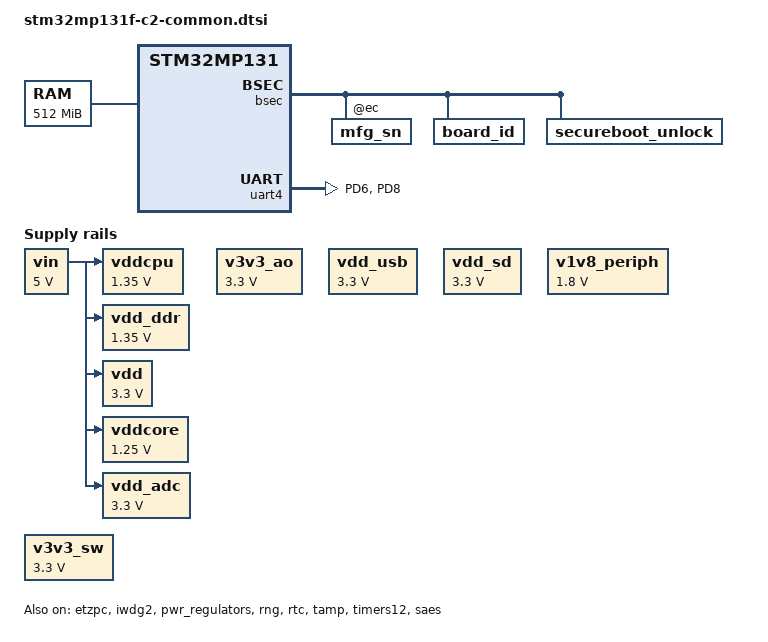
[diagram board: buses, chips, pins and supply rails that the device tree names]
/* SPDX-License-Identifier: (GPL-2.0+ OR BSD-3-Clause) */
/*
* Copyright (C) Block Inc.
* Author: btcm-sw-team@block.xyz
*/

/dts-v1/;
#include <dt-bindings/pinctrl/stm32-pinfunc.h>
#include <dt-bindings/clock/stm32mp13-clksrc.h>
#include <dt-bindings/soc/stm32mp13-etzpc.h>

#include "stm32mp131.dtsi"
#include "stm32mp13xf.dtsi"

#include <dt-bindings/gpio/gpio.h>
#include <dt-bindings/gpio/stm32mp_gpio.h>
#include <dt-bindings/power/stm32mp1-power.h>
#include <dt-bindings/rtc/rtc-stm32.h>
#include <dt-bindings/soc/stm32mp-tzc400-macro.h>
#include <dt-bindings/soc/stm32mp13-tzc400.h>

/ {
    memory@c0000000 {
        device_type = "memory";
        reg = <0xc0000000 0x20000000>;
    };

    reserved-memory {
        #address-cells = <1>;
        #size-cells = <1>;
        ranges;

        optee_framebuffer:optee-framebuffer@dd000000{
            reg = <0xdd000000 0x1000000>;
            st,protreg = <TZC_REGION_S_RDWR 0>;
        };
    };

    aliases {
        serial0 = &uart4;
        serial1 = &uart5;
    };

    chosen {
        stdout-path = "serial0:115200n8";
    };

    vin: vin {
        compatible = "regulator-fixed";
        regulator-name = "vin";
        regulator-min-microvolt = <5000000>;
        regulator-max-microvolt = <5000000>;
        regulator-always-on;
    };

    v3v3_ao: v3v3_ao {
        compatible = "regulator-fixed";
        regulator-name = "v3v3_ao";
        regulator-min-microvolt = <3300000>;
        regulator-max-microvolt = <3300000>;
        regulator-always-on;
    };

    vddcpu: vddcpu {
        compatible = "regulator-fixed";
        regulator-name = "vddcpu";
        regulator-min-microvolt = <1350000>;
        regulator-max-microvolt = <1350000>;
        regulator-always-on;
        vin-supply = <&vin>;
    };

    vdd_ddr: vdd_ddr {
        compatible = "regulator-fixed";
        regulator-name = "vdd_ddr";
        regulator-min-microvolt = <1350000>;
        regulator-max-microvolt = <1350000>;
        regulator-always-on;
        vin-supply = <&vin>;
    };

    vdd: vdd {
        compatible = "regulator-fixed";
        regulator-name = "vdd";
        regulator-min-microvolt = <3300000>;
        regulator-max-microvolt = <3300000>;
        regulator-always-on;
        vin-supply = <&vin>;
    };

    vddcore: vddcore {
        compatible = "regulator-fixed";
        regulator-name = "vddcore";
        regulator-min-microvolt = <1250000>;
        regulator-max-microvolt = <1250000>;
        regulator-always-on;
        vin-supply = <&vin>;
    };

    vdd_adc: vdd_adc {
        compatible = "regulator-fixed";
        regulator-name = "vdd_adc";
        regulator-min-microvolt = <3300000>;
        regulator-max-microvolt = <3300000>;
        regulator-always-on;
        vin-supply = <&vin>;
    };

    vdd_usb: vdd_usb {
        compatible = "regulator-fixed";
        regulator-name = "vdd_usb";
        regulator-min-microvolt = <3300000>;
        regulator-max-microvolt = <3300000>;
        regulator-always-on;
    };

    vdd_sd: vdd_sd {
        compatible = "regulator-fixed";
        regulator-name = "vdd_sd";
        regulator-min-microvolt = <3300000>;
        regulator-max-microvolt = <3300000>;
        regulator-always-on;
    };

    v1v8_periph: v1v8_periph {
        compatible = "regulator-fixed";
        regulator-name = "v1v8_periph";
        regulator-min-microvolt = <1800000>;
        regulator-max-microvolt = <1800000>;
        regulator-always-on;
    };

    v3v3_sw: v3v3_sw {
        compatible = "regulator-fixed";
        regulator-name = "v3v3_sw";
        regulator-min-microvolt = <3300000>;
        regulator-max-microvolt = <3300000>;
        regulator-always-on;
    };

    clocks {
        clk_hsi: clk-hsi {
            clock-frequency = <64000000>;
        };
        clk_lse: clk-lse {
            clock-frequency = <32768>;
            st,drive = < LSEDRV_MEDIUM_HIGH >;
        };
        clk_hse: clk-hse {
            clock-frequency = <24000000>;
        };
        clk_i2sin: clk-i2sin {
            status = "disabled";
        };
    };

}; /*root*/

/*Warning: the configuration of the secured GPIOs should be added in (addons) User Section*/
&pinctrl {
    i2c2_pins_a: i2c2-0 {
        pins {
            pinmux = <STM32_PINMUX('F', 2, AF4)>, /* I2C2_SCL */
            <STM32_PINMUX('F', 1, AF4)>; /* I2C2_SDA */
            bias-disable;
            drive-open-drain;
            slew-rate = <0>;
        };
    };

    rcc_pins_mx: rcc_mx-0 {
        pins {
            pinmux = <STM32_PINMUX('D', 7, AF0)>, /* RCC_MCO_1 */
            <STM32_PINMUX('E', 6, AF0)>; /* RCC_MCO_2 */
            bias-disable;
            drive-push-pull;
            slew-rate = <0>;
        };
    };

    uart4_pins_a: uart4_a-0 {
        pins1 {
            pinmux = <STM32_PINMUX('D', 6, AF8)>; /* UART4_TX */
            bias-disable;
            drive-push-pull;
            slew-rate = <0>;
        };
        pins2 {
            pinmux = <STM32_PINMUX('D', 8, AF8)>; /* UART4_RX */
            bias-disable;
        };
    };
};

&bsec {
    status = "okay";

    mac_addr: mac_addr@e4 {
        reg = <0xe4 0x8>;
        st,non-secure-otp;
    };

    mfg_sn: mfg_sn@ec {
        reg = <0xec 0x10>;
        st,non-secure-otp;
    };

    board_id: board_id@100 {
        reg = <0x100 0x4>;
        st,non-secure-otp;
    };

    secureboot_unlock: secureboot_unlock@104 {
        reg = <0x104 0x4>;
    };
};

&etzpc {
    status = "okay";
    st,decprot = <
    /*"NS_R S_W" peripherals*/
    DECPROT(STM32MP1_ETZPC_DDRCTRLPHY_ID, DECPROT_NS_R_S_W, DECPROT_LOCK)
    /*"Non Secured" peripherals*/
    DECPROT(STM32MP1_ETZPC_ETH1_ID, DECPROT_NS_RW, DECPROT_UNLOCK)
    DECPROT(STM32MP1_ETZPC_FMC_ID, DECPROT_NS_RW, DECPROT_UNLOCK)
    DECPROT(STM32MP1_ETZPC_I2C3_ID, DECPROT_NS_RW, DECPROT_UNLOCK)
    DECPROT(STM32MP1_ETZPC_I2C4_ID, DECPROT_NS_RW, DECPROT_UNLOCK)
    DECPROT(STM32MP1_ETZPC_I2C5_ID, DECPROT_NS_RW, DECPROT_UNLOCK)
    DECPROT(STM32MP1_ETZPC_ADC2_ID, DECPROT_NS_RW, DECPROT_UNLOCK)
    DECPROT(STM32MP1_ETZPC_SDMMC1_ID, DECPROT_NS_RW, DECPROT_UNLOCK)
    DECPROT(STM32MP1_ETZPC_SDMMC2_ID, DECPROT_NS_RW, DECPROT_UNLOCK)
    DECPROT(STM32MP1_ETZPC_SPI4_ID, DECPROT_NS_RW, DECPROT_UNLOCK)
    DECPROT(STM32MP1_ETZPC_OTG_ID, DECPROT_NS_RW, DECPROT_UNLOCK)
    DECPROT(STM32MP1_ETZPC_USBPHYCTRL_ID, DECPROT_NS_RW, DECPROT_UNLOCK)
    DECPROT(STM32MP1_ETZPC_TIM13_ID, DECPROT_NS_RW, DECPROT_UNLOCK)
    DECPROT(STM32MP1_ETZPC_TIM14_ID, DECPROT_NS_RW, DECPROT_UNLOCK)
    DECPROT(STM32MP1_ETZPC_TIM16_ID, DECPROT_NS_RW, DECPROT_UNLOCK)
    DECPROT(STM32MP1_ETZPC_TIM17_ID, DECPROT_NS_RW, DECPROT_UNLOCK)
    /*"Secured" peripherals*/
    DECPROT(STM32MP1_ETZPC_STGENC_ID, DECPROT_S_RW, DECPROT_UNLOCK)
    >;
};

&iwdg2 {
    status = "okay";

    timeout-sec = <32>;
    secure-timeout-sec = <5>;
};

&pwr_regulators {
    status = "okay";
	system_suspend_supported_soc_modes = <
	STM32_PM_CSLEEP_RUN
	STM32_PM_CSTOP_ALLOW_LP_STOP
	STM32_PM_CSTOP_ALLOW_STANDBY_DDR_SR
	>;
	system_off_soc_mode = <STM32_PM_CSTOP_ALLOW_STANDBY_DDR_OFF>;
};

&rcc {
    compatible = "st,stm32mp13-rcc", "syscon", "st,stm32mp13-rcc-mco";
    pinctrl-names = "default";
    pinctrl-0 = <&rcc_pins_mx>;
    status = "okay";
    clocks = <&clk_hse>, <&clk_hsi>, <&clk_lse>, <&clk_lsi>, <&clk_csi>;
    clock-names = "clk-hse", "clk-hsi", "clk-lse", "clk-lsi", "clk-csi";

    st,clksrc = <
    CLK_MPU_PLL1P
    CLK_AXI_PLL2P
    CLK_MLAHBS_PLL3
    CLK_RTC_LSE
    CLK_MCO1_HSE
    CLK_MCO2_DISABLED
    CLK_CKPER_HSE
    CLK_ETH1_PLL4P
    CLK_SDMMC1_PLL4P
    CLK_SDMMC2_PLL4P
    CLK_STGEN_HSE
    CLK_USBPHY_HSE
    CLK_I2C4_PLL4R
    CLK_I2C5_PLL4R
    CLK_ADC2_PLL4R
    CLK_USBO_USBPHY
    CLK_I2C12_PLL4R
    CLK_I2C3_PCLK6
    CLK_UART1_HSI
    CLK_UART2_HSI
    CLK_UART35_HSI
    CLK_UART4_HSI
    CLK_UART6_HSI
    CLK_UART78_HSI
    CLK_SAES_AXI
    CLK_DCMIPP_PLL2Q
    CLK_LPTIM3_PCLK3
    CLK_RNG1_PLL4R
    >;

    st,clkdiv = <
    DIV(DIV_MPU, 1)
    DIV(DIV_AXI, 0)
    DIV(DIV_MLAHB, 0)
    DIV(DIV_APB1, 1)
    DIV(DIV_APB2, 1)
    DIV(DIV_APB3, 1)
    DIV(DIV_APB4, 1)
    DIV(DIV_APB5, 2)
    DIV(DIV_APB6, 1)
    DIV(DIV_RTC, 0)
    DIV(DIV_MCO1, 0)
    DIV(DIV_MCO2, 0)
    >;

    st,pll_vco {
        pll1_vco_2000Mhz: pll1-vco-2000Mhz {
            src = < CLK_PLL12_HSE >;
            divmn = < 1 82 >;
            frac = < 0xAAA >;
        };

        pll1_vco_1300Mhz: pll1-vco-1300Mhz {
            src = < CLK_PLL12_HSE >;
            divmn = < 2 80 >;
            frac = < 0x800 >;
        };

        pll2_vco_1066Mhz: pll2-vco-1066Mhz {
            src = < CLK_PLL12_HSE >;
            divmn = < 2 65 >;
            frac = < 0x1400 >;
        };

        pll3_vco_417_8Mhz: pll3-vco-417_8Mhz {
            src = < CLK_PLL3_HSE >;
            divmn = < 1 33 >;
            frac = < 0x1a04 >;
        };

        pll4_vco_600Mhz: pll4-vco-600Mhz {
            src = < CLK_PLL4_HSE >;
            divmn = < 1 49 >;
        };
    };

    /* VCO = 1300.0 MHz => P = 650 (CPU) */
    pll1:st,pll@0 {
        compatible = "st,stm32mp1-pll";
        reg = <0>;

        st,pll = < &pll1_cfg1 >;

        pll1_cfg1: pll1_cfg1 {
            st,pll_vco = < &pll1_vco_1300Mhz >;
            st,pll_div_pqr = < 0 1 1 >;
        };

        pll1_cfg2: pll1_cfg2 {
            st,pll_vco = < &pll1_vco_2000Mhz >;
            st,pll_div_pqr = < 0 1 1 >;
        };
    };

    /* VCO = 1066.0 MHz => P = 266 (AXI), Q = 266, R = 533 (DDR) */
    pll2:st,pll@1 {
        compatible = "st,stm32mp1-pll";
        reg = <1>;

        st,pll = < &pll2_cfg1 >;

        pll2_cfg1: pll2_cfg1 {
            st,pll_vco = < &pll2_vco_1066Mhz >;
            st,pll_div_pqr = < 1 1 0 >;
        };
    };

    /* VCO = 417.8 MHz => P = 209, Q = 24, R = 11 */
    pll3:st,pll@2 {
        compatible = "st,stm32mp1-pll";
        reg = <2>;

        st,pll = < &pll3_cfg1 >;

        pll3_cfg1: pll3_cfg1 {
            st,pll_vco = < &pll3_vco_417_8Mhz >;
            st,pll_div_pqr = < 1 16 36 >;
        };
    };

    /* VCO = 600.0 MHz => P = 50, Q = 10, R = 50 */
    pll4:st,pll@3 {
        compatible = "st,stm32mp1-pll";
        reg = <3>;
        st,pll = < &pll4_cfg1 >;

        pll4_cfg1: pll4_cfg1 {
            st,pll_vco = < &pll4_vco_600Mhz >;
            st,pll_div_pqr = < 11 59 11 >;
        };
    };

    st,clk_opp {
        /* CK_MPU clock config for MP13 */
        st,ck_mpu {

            cfg_1 {
                hz = < 1000000000 >;
                st,clksrc = < CLK_MPU_PLL1P >;
                st,pll = < &pll1_cfg2 >;
            };

            cfg_2 {
                hz = < 650000000 >;
                st,clksrc = < CLK_MPU_PLL1P >;
                st,pll = < &pll1_cfg1 >;
            };
        };
    };
};


&rng {
    status = "okay";
};

&rtc {
    status = "okay";
};

&tamp {
    status = "okay";
};

&timers12 {
    status = "okay";

    counter {
        status = "okay";
    };
};

&cpu0 {
    cpu-supply = <&vddcpu>;
};

&scmi_regu {
    scmi_vddcpu:voltd-vddcpu {
        voltd-name = "vddcpu";
        regulator-name = "vddcpu";
    };

    scmi_vdd:voltd-vdd {
        voltd-name = "vdd";
        regulator-name = "vdd";
    };

    scmi_vddcore:voltd-vddcore {
        voltd-name = "vddcore";
        regulator-name = "vddcore";
    };

    scmi_vdd_adc:voltd-vdd_adc {
        voltd-name = "vdd_adc";
        regulator-name = "vdd_adc";
    };

    scmi_vdd_usb:voltd-vdd_usb {
        voltd-name = "vdd_usb";
        regulator-name = "vdd_usb";
    };

    scmi_vdd_sd:voltd-vdd_sd {
        voltd-name = "vdd_sd";
        regulator-name = "vdd_sd";
    };

    scmi_v1v8_periph:voltd-v1v8_periph {
        voltd-name = "v1v8_periph";
        regulator-name = "v1v8_periph";
    };

    scmi_v3v3_sw:voltd-v3v3_sw {
        voltd-name = "v3v3_sw";
        regulator-name = "v3v3_sw";
    };
};

&tzc400 {
    memory-region = <&optee_framebuffer>;
};

&uart4 {
    pinctrl-names = "default";
    pinctrl-0 = <&uart4_pins_a>;
    status = "okay";
};

&saes {
    status = "okay";
};
